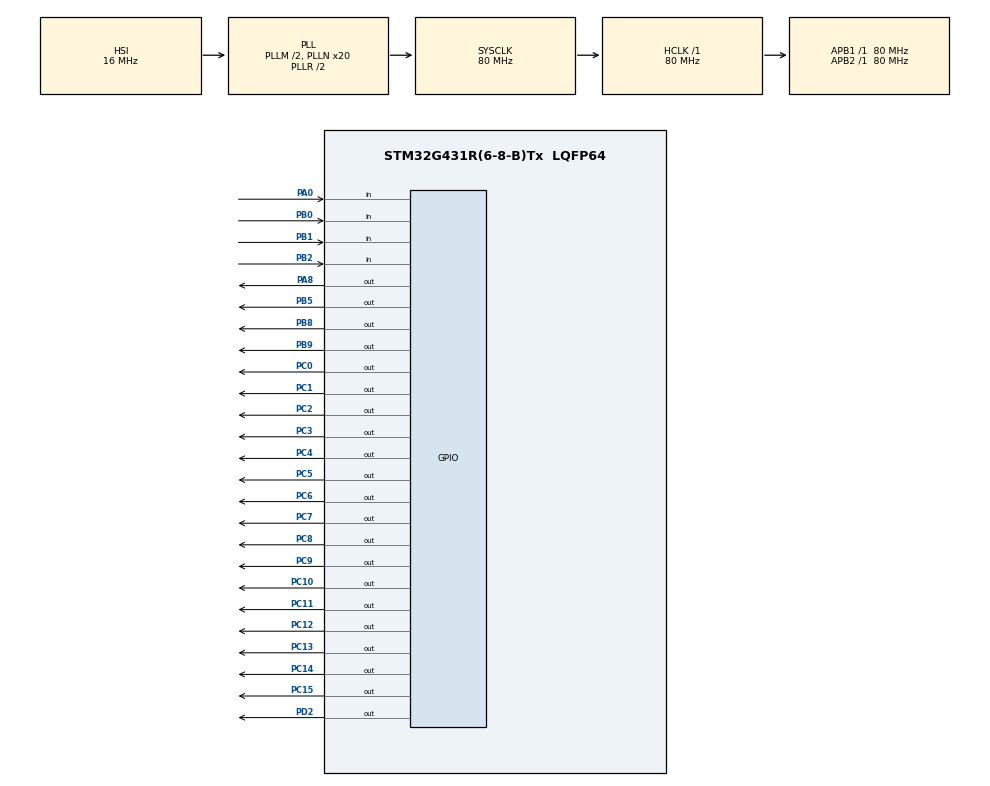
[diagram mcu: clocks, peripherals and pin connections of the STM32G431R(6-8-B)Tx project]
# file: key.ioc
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Mcu.Family=STM32G4
Mcu.Name=STM32G431R(6-8-B)Tx
Mcu.Package=LQFP64
NVIC.PriorityGroup=NVIC_PRIORITYGROUP_4
PA0.Signal=GPIO_Input
PA8.Signal=GPIO_Output
PB0.Signal=GPIO_Input
PB1.Signal=GPIO_Input
PB2.Signal=GPIO_Input
PB5.Signal=GPIO_Output
PB8-BOOT0.Signal=GPIO_Output
PB9.Signal=GPIO_Output
PC0.Signal=GPIO_Output
PC1.Signal=GPIO_Output
PC10.Signal=GPIO_Output
PC11.Signal=GPIO_Output
PC12.Signal=GPIO_Output
PC13.Signal=GPIO_Output
PC14-OSC32_IN.Signal=GPIO_Output
PC15-OSC32_OUT.Signal=GPIO_Output
PC2.Signal=GPIO_Output
PC3.Signal=GPIO_Output
PC4.Signal=GPIO_Output
PC5.Signal=GPIO_Output
PC6.Signal=GPIO_Output
PC7.Signal=GPIO_Output
PC8.Signal=GPIO_Output
PC9.Signal=GPIO_Output
PD2.Signal=GPIO_Output
PF0-OSC_IN.Mode=HSE-External-Oscillator
PF0-OSC_IN.Signal=RCC_OSC_IN
PF1-OSC_OUT.Mode=HSE-External-Oscillator
PF1-OSC_OUT.Signal=RCC_OSC_OUT
ProjectManager.HeapSize=0x200
ProjectManager.StackSize=0x400
ProjectManager.TargetToolchain=MDK-ARM V5
RCC.ADC12Freq_Value=80000000
RCC.AHBFreq_Value=80000000
RCC.APB1Freq_Value=80000000
RCC.APB1TimFreq_Value=80000000
RCC.APB2Freq_Value=80000000
RCC.APB2TimFreq_Value=80000000
RCC.CortexFreq_Value=80000000
RCC.EXTERNAL_CLOCK_VALUE=12288000
RCC.HCLKFreq_Value=80000000
RCC.HSE_VALUE=24000000
RCC.HSI48_VALUE=48000000
RCC.HSI_VALUE=16000000
RCC.LSE_VALUE=32768
RCC.PLLM=RCC_PLLM_DIV2
RCC.PLLN=20
RCC.SYSCLKFreq_VALUE=80000000
RCC.SYSCLKSource=RCC_SYSCLKSOURCE_PLLCLK
RCC.USBFreq_Value=80000000
RCC.VCOOutputFreq_Value=160000000
VP_SYS_VS_DBSignals.Mode=DisableDeadBatterySignals
board=custom

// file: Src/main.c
/* USER CODE BEGIN Header */
/**
  ******************************************************************************
  * @file           : main.c
  * @brief          : Main program body
  ******************************************************************************
  * @attention
  *
  * <h2><center>&copy; Copyright (c) 2021 STMicroelectronics.
  * All rights reserved.</center></h2>
  *
  * This software component is licensed by ST under BSD 3-Clause license,
  * the "License"; You may not use this file except in compliance with the
  * License. You may obtain a copy of the License at:
  *                        opensource.org/licenses/BSD-3-Clause
  *
  ******************************************************************************
  */
/* USER CODE END Header */

#include "main.h"
#include "gpio.h"

/* USER CODE BEGIN Includes */

#include "led.h"
#include "key.h"
#include "stdio.h"

/* USER CODE END Includes */

void SystemClock_Config(void);

/* USER CODE BEGIN 0 */
//参考bi站
//解决按键的长按、双击防触发问题
//解决一个按键长按、双击混合问题

//1按键长按
//长按，需要长按的按键执行短按的话，用抬起检测判断短按，按下检测长按。

//2按键双击
//双击的间隔小于300ms
//短按执行一种功能，双击执行一种功能

//3按键长按、双击混合

int num = 0;
_Bool double_flag = 0;
uint32_t keyTick = 0;
uint32_t longTick = 0;
uint32_t doubleTick = 0;

uint32_t add_idle = 0;
void Key_Process(void)
{
	if(uwTick - keyTick < 20) return;
	keyTick = uwTick;

	Key_Read();

//	//长按防止短按
	if(Trg & 0x01)
	{
		longTick = uwTick;
	}

	else if(Cont & 0x01 && uwTick - longTick > 800)
	{//长按
		if(uwTick - add_idle < 500) return;
			add_idle = uwTick;

		  num++;

	}
	else if(Up & 0x01 && uwTick - longTick < 800)
	{//短按
		num++;
		if(num > 1000)
			num = 0;
		Led_Control(0x01);//检测是否触发短按
	}

	//双击防止短按
	if(Trg & 0x02 && double_flag == 0)
	{
		double_flag = 1;
		doubleTick = uwTick;
	}
	else if(double_flag == 1)
	{
		if(Trg & 0x02 && uwTick - doubleTick < 300)	//双击
		{
			double_flag = 0;
				num+=10;
			if(num > 1000)
				num = 0;
		}
		else if(uwTick - doubleTick > 300) //单机
		{
			double_flag = 0;
				num++;
			if(num > 1000)
				num = 0;
		}
	}

//
	if(Trg & 0x04)
	{

	}

	if(Trg & 0x08)
	{

	}

}

//LCD
void LCD_Process(void)
{
	u8 display_buf[30];
	sprintf((char*)display_buf,"     num: %d    ",num);
	LCD_DisplayStringLine(Line0,display_buf);

}

/* USER CODE END 0 */

int main(void)
{

  /* MCU Configuration--------------------------------------------------------*/

  /* Reset of all peripherals, Initializes the Flash interface and the Systick. */
  HAL_Init();

  /* Configure the system clock */
  SystemClock_Config();

  /* Initialize all configured peripherals */
  MX_GPIO_Init();
  /* USER CODE BEGIN 2 */

    LCD_Init();
  /* USER CODE END 2 */

  /* Infinite loop */
  /* USER CODE BEGIN WHILE */

    LCD_Clear(Blue);
    LCD_SetBackColor(Blue);
    LCD_SetTextColor(White);

//    LCD_DrawLine(120, 0, 320, Horizontal);
//    LCD_DrawLine(0, 160, 240, Vertical);
//    HAL_Delay(1000);
//    LCD_Clear(Blue);

//    LCD_DrawRect(70, 210, 100, 100);
//    HAL_Delay(1000);
//    LCD_Clear(Blue);

//    LCD_DrawCircle(120, 160, 50);
//    HAL_Delay(1000);

//    LCD_Clear(Blue);
//    LCD_DisplayStringLine(Line4, (unsigned char *)"    Hello,world.   ");
//    HAL_Delay(1000);

//    LCD_SetBackColor(White);
//    LCD_DisplayStringLine(Line0, (unsigned char *)"                    ");
//    LCD_SetBackColor(Black);
//    LCD_DisplayStringLine(Line1, (unsigned char *)"                    ");
//    LCD_SetBackColor(Grey);
//    LCD_DisplayStringLine(Line2, (unsigned char *)"                    ");
//    LCD_SetBackColor(Blue);
//    LCD_DisplayStringLine(Line3, (unsigned char *)"                    ");
//    LCD_SetBackColor(Blue2);
//    LCD_DisplayStringLine(Line4, (unsigned char *)"                    ");
//    LCD_SetBackColor(Red);
//    LCD_DisplayStringLine(Line5, (unsigned char *)"                    ");
//    LCD_SetBackColor(Magenta);
//    LCD_DisplayStringLine(Line6, (unsigned char *)"                    ");
//    LCD_SetBackColor(Green);
//    LCD_DisplayStringLine(Line7, (unsigned char *)"                    ");
//    LCD_SetBackColor(Cyan);
//    LCD_DisplayStringLine(Line8, (unsigned char *)"                    ");
//    LCD_SetBackColor(Yellow);
//    LCD_DisplayStringLine(Line9, (unsigned char *)"                    ");

		Led_Control(0x00);
    while (1)
    {
    /* USER CODE END WHILE */

    /* USER CODE BEGIN 3 */
			Key_Process();
			LCD_Process();

    }
  /* USER CODE END 3 */
}

void SystemClock_Config(void)
{
  RCC_OscInitTypeDef RCC_OscInitStruct = {0};
  RCC_ClkInitTypeDef RCC_ClkInitStruct = {0};

  /** Configure the main internal regulator output voltage
  */
  HAL_PWREx_ControlVoltageScaling(PWR_REGULATOR_VOLTAGE_SCALE1);
  /** Initializes the CPU, AHB and APB busses clocks
  */
  RCC_OscInitStruct.OscillatorType = RCC_OSCILLATORTYPE_HSI;
  RCC_OscInitStruct.HSIState = RCC_HSI_ON;
  RCC_OscInitStruct.HSICalibrationValue = RCC_HSICALIBRATION_DEFAULT;
  RCC_OscInitStruct.PLL.PLLState = RCC_PLL_ON;
  RCC_OscInitStruct.PLL.PLLSource = RCC_PLLSOURCE_HSI;
  RCC_OscInitStruct.PLL.PLLM = RCC_PLLM_DIV2;
  RCC_OscInitStruct.PLL.PLLN = 20;
  RCC_OscInitStruct.PLL.PLLP = RCC_PLLP_DIV2;
  RCC_OscInitStruct.PLL.PLLQ = RCC_PLLQ_DIV2;
  RCC_OscInitStruct.PLL.PLLR = RCC_PLLR_DIV2;
  if (HAL_RCC_OscConfig(&RCC_OscInitStruct) != HAL_OK)
  {
    Error_Handler();
  }
  /** Initializes the CPU, AHB and APB busses clocks
  */
  RCC_ClkInitStruct.ClockType = RCC_CLOCKTYPE_HCLK|RCC_CLOCKTYPE_SYSCLK
                              |RCC_CLOCKTYPE_PCLK1|RCC_CLOCKTYPE_PCLK2;
  RCC_ClkInitStruct.SYSCLKSource = RCC_SYSCLKSOURCE_PLLCLK;
  RCC_ClkInitStruct.AHBCLKDivider = RCC_SYSCLK_DIV1;
  RCC_ClkInitStruct.APB1CLKDivider = RCC_HCLK_DIV1;
  RCC_ClkInitStruct.APB2CLKDivider = RCC_HCLK_DIV1;

  if (HAL_RCC_ClockConfig(&RCC_ClkInitStruct, FLASH_LATENCY_3) != HAL_OK)
  {
    Error_Handler();
  }
}

void Error_Handler(void)
{
}

/************************ (C) COPYRIGHT STMicroelectronics *****END OF FILE****/
